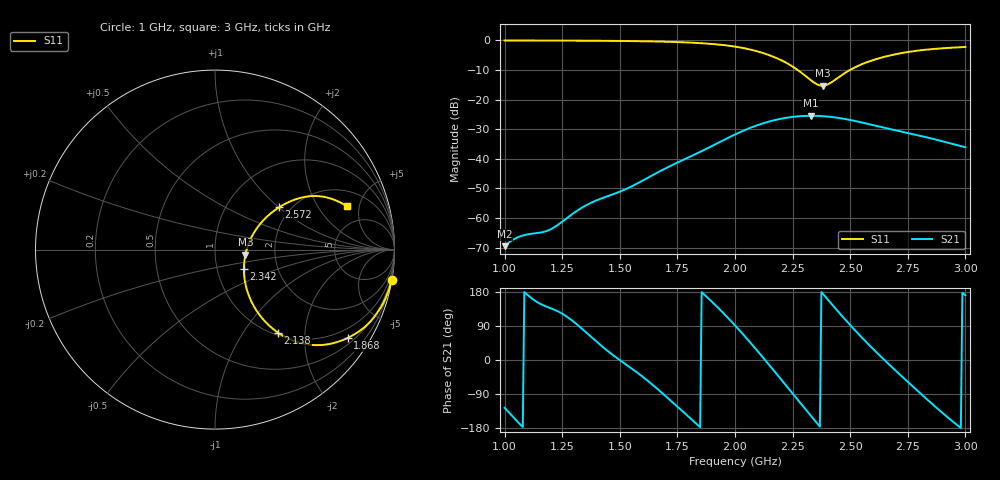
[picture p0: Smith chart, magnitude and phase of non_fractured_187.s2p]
! TOUCHSTONE file generated by CST MICROWAVE STUDIO
! Date and time: Sat Mar  8 13:55:18 2025
! Project name: non_fractured.cst
! Parameters = {B=2.5; D=160; F=10; Feed=2.85625; L=100; M=20; R=0.384908; S=2; Theta=180; length=57.125; wave=114.25}
! Header version: 2024
! Port assignment regex: !\s*Touchstone port\s*([0-9]+)\s*=\s*(CST MWS port|CST DES external port|CST DES block port)\s*(.+)\s* \(\"(.*)\"\)(\s*mode\s*([0-9]+))?.*
! Touchstone port assignment:
! Touchstone port 1 = CST MWS port 1 ("")
! Touchstone port 2 = CST MWS port 2 ("")
# GHz S DB R 50
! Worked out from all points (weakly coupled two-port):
!   305 points, 1 GHz to 3 GHz, reference 50 ohm
!   highest |S21| = -25.48 dB at 2.329 GHz (marker M1); lowest = -69.5 dB at 1 GHz (marker M2)
!   lowest |S11| = -15.3 dB at 2.382 GHz (marker M3), VSWR 1.41, Z = 70.2 - j4.06 ohm
!   |S11| at or under -10 dB: 2.272 GHz to 2.499 GHz (226.7 MHz wide, 9.5 % of centre)
!   S12 and S22 are empty: the file has one direction only
!   S11 on the Smith chart (normalised r, x): 1 GHz: 0, -12; 1.868 GHz: 0.68, -3.18; 2.138 GHz: 1.04, -1.46; 2.342 GHz: 1.34, -0.31; 2.572 GHz: 1.74, +1.00; 3 GHz: 3.15, +3.78
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1  -0.02 -9.7  -69.54 -126.2  -200.00 0.0  -200.00 0.0
1.03289  -0.02 -10.2  -67.53 -147.9  -200.00 0.0  -200.00 0.0
1.06579  -0.03 -10.6  -66.27 -168.9  -200.00 0.0  -200.00 0.0
1.19737  -0.05 -12.6  -63.94 137.1  -200.00 0.0  -200.00 0.0
1.33553  -0.09 -15.1  -56.52 82.5  -200.00 0.0  -200.00 0.0
1.53947  -0.22 -20.0  -49.78 -17.4  -200.00 0.0  -200.00 0.0
1.67105  -0.38 -24.2  -44.33 -80.5  -200.00 0.0  -200.00 0.0
1.86842  -1.03 -33.6  -36.91 171.7  -200.00 0.0  -200.00 0.0
2  -2.09 -42.6  -31.80 91.3  -200.00 0.0  -200.00 0.0
2.07237  -3.21 -48.3  -29.37 41.7  -200.00 0.0  -200.00 0.0
2.13816  -4.71 -52.8  -27.64 -5.6  -200.00 0.0  -200.00 0.0
2.23684  -8.21 -55.6  -25.98 -78.7  -200.00 0.0  -200.00 0.0
2.32895  -13.45 -40.3  -25.48 -147.0  -200.00 0.0  -200.00 0.0
2.33553  -13.84 -37.5  -25.48 -151.9  -200.00 0.0  -200.00 0.0
2.34211  -14.20 -34.3  -25.48 -156.7  -200.00 0.0  -200.00 0.0
2.38158  -15.31 -9.4  -25.61 174.6  -200.00 0.0  -200.00 0.0
2.40789  -14.66 7.2  -25.79 155.7  -200.00 0.0  -200.00 0.0
2.47368  -11.19 28.5  -26.51 109.8  -200.00 0.0  -200.00 0.0
2.57237  -7.38 33.4  -28.13 45.6  -200.00 0.0  -200.00 0.0
2.67105  -5.12 31.3  -29.94 -13.1  -200.00 0.0  -200.00 0.0
2.82895  -3.14 24.4  -32.69 -101.4  -200.00 0.0  -200.00 0.0
3  -2.22 18.1  -36.11 171.1  -200.00 0.0  -200.00 0.0
